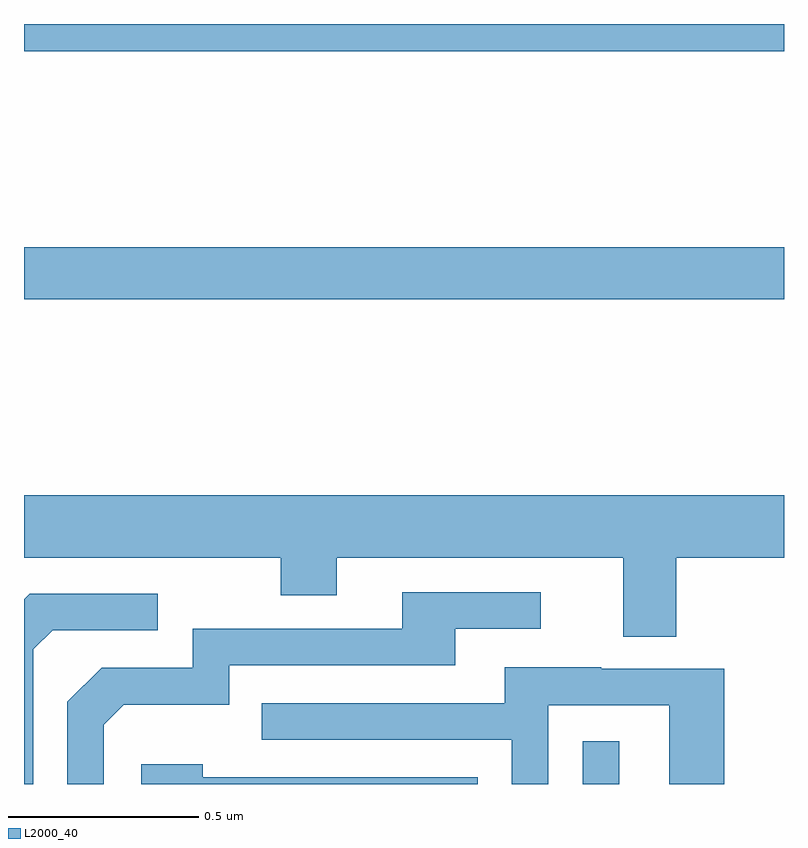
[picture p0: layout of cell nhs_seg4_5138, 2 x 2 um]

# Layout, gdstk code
import gdstk
lib = gdstk.Library(unit=1e-6, precision=1e-09)
def R(c, l, rs):  # rectangles x0, y0, x1, y1
    for r in rs: c.add(gdstk.rectangle(r[:2], r[2:], *l))
def P(c, l, *ps):  # polygons
    for p in ps: c.add(gdstk.Polygon(p, *l))
L2000_40 = (2000, 40)

nhs_seg4_5138 = lib.new_cell('nhs_seg4_5138')
R(nhs_seg4_5138, L2000_40, [(175.47,786.9,175.567,787.012), (174,788.176,176,788.312), (174,788.828,176,788.9)])
P(nhs_seg4_5138, L2000_40, [(175.717,787.496),(176,787.496),(176,787.66),(174,787.66),(174,787.496),(174.676,787.496),(174.676,787.397),(174.823,787.397),(174.823,787.496),(175.577,787.496),(175.577,787.288),(175.717,787.288)],
  [(174.21,787.056),(174.263,787.109),(174.54,787.109),(174.54,787.212),(175.135,787.212),(175.135,787.308),(175.36,787.308),(175.36,787.404),(174.995,787.404),(174.995,787.308),(174.444,787.308),(174.444,787.206),(174.204,787.206),(174.114,787.116),(174.114,786.9),(174.21,786.9)],
  [(174.024,787.254),(174.075,787.305),(174.352,787.305),(174.352,787.401),(174.015,787.401),(174,787.386),(174,786.9),(174.024,786.9)],
  [(175.38,787.107),(175.698,787.107),(175.698,786.9),(175.843,786.9),(175.843,787.203),(175.519,787.203),(175.519,787.207),(175.265,787.207),(175.265,787.113),(174.625,787.113),(174.625,787.017),(175.284,787.017),(175.284,786.9),(175.38,786.9)],
  [(175.194,786.918),(174.47,786.918),(174.47,786.952),(174.309,786.952),(174.309,786.9),(175.194,786.9)])

lib.write_gds('nhs_seg4_5138.gds')
